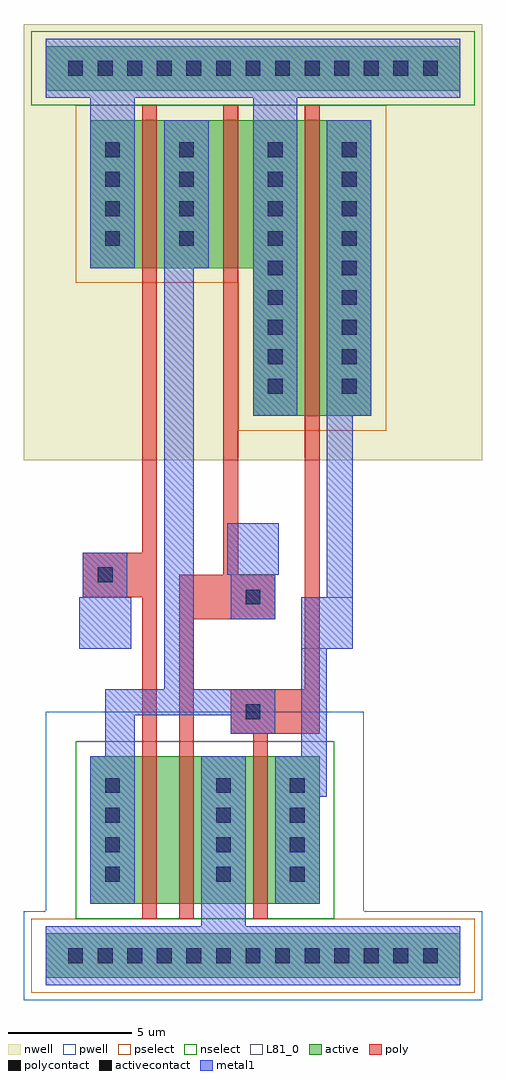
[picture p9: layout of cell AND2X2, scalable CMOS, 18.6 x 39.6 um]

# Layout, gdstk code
import gdstk
lib = gdstk.Library(unit=1e-6, precision=1e-09)
def R(c, l, rs):  # rectangles x0, y0, x1, y1
    for r in rs: c.add(gdstk.rectangle(r[:2], r[2:], *l))
def A(c, l, x, y, w, h, nx, ny, dx, dy):  # array of equal rectangles
    R(c, l, [(x+i*dx, y+j*dy, x+i*dx+w, y+j*dy+h) for i in range(nx) for j in range(ny)])
pwell = (41, 0)
nwell = (42, 0)
active = (43, 0)
pselect = (44, 0)
nselect = (45, 0)
poly = (46, 0)
polycontact = (47, 0)
activecontact = (48, 0)
metal1 = (49, 0)
L81_0 = (81, 0)

and2x2 = lib.new_cell('AND2X2')
R(and2x2, pwell, [(-1.8,-1.8,16.8,1.8), (-0.9,1.8,12,9.9)])
R(and2x2, nwell, [(-1.8,20.1,16.8,37.8)])
R(and2x2, active, [(-0.9,-0.9,15.9,0.9), (0.9,2.1,10.2,8.1), (7.5,21.9,12.3,27.9), (0.9,27.9,12.3,33.9), (-0.9,35.1,15.9,36.9)])
R(and2x2, pselect, [(-1.5,-1.5,16.5,1.5), (6.9,21.3,12.9,27.3), (0.3,27.3,12.9,34.5)])
R(and2x2, nselect, [(0.3,1.5,10.8,8.7), (-1.5,34.5,16.5,37.5)])
R(and2x2, poly, [(3,1.5,3.6,14.55), (4.5,1.5,5.1,13.65), (7.5,1.5,8.1,9), (6.6,9,10.2,10.8), (9.6,10.8,10.2,34.5), (4.5,13.65,8.4,15.45), (0.6,14.55,3.6,16.35), (6.3,15.45,6.9,34.5), (3,16.35,3.6,34.5)])
R(and2x2, polycontact, [(7.2,9.6,7.8,10.2), (7.2,14.25,7.8,14.85), (1.2,15.15,1.8,15.75)])
A(and2x2, activecontact, 0, -0.3, 0.6, 0.6, 13, 2, 1.2, 36)
A(and2x2, activecontact, 1.5, 3, 0.6, 0.6, 1, 4, 0, 1.2)
A(and2x2, activecontact, 6, 3, 0.6, 0.6, 1, 4, 0, 1.2)
A(and2x2, activecontact, 9, 3, 0.6, 0.6, 1, 4, 0, 1.2)
A(and2x2, activecontact, 8.1, 22.8, 0.6, 0.6, 1, 9, 0, 1.2)
A(and2x2, activecontact, 11.1, 22.8, 0.6, 0.6, 1, 9, 0, 1.2)
A(and2x2, activecontact, 1.5, 28.8, 0.6, 0.6, 1, 4, 0, 1.2)
A(and2x2, activecontact, 4.5, 28.8, 0.6, 0.6, 1, 4, 0, 1.2)
R(and2x2, metal1, [(-0.9,-1.2,15.9,1.2), (5.4,1.2,7.2,8.1), (0.9,2.1,2.7,8.1), (8.4,2.1,10.2,6.45), (8.4,6.45,10.5,8.1), (1.5,8.1,2.7,9.75), (9.45,8.1,10.5,12.45), (6.6,9,8.4,9.75), (1.5,9.75,8.4,10.8), (3.9,10.8,5.1,27.9), (0.45,12.45,2.55,14.55), (9.45,12.45,11.55,14.55), (6.6,13.65,8.4,15.45), (0.6,14.55,2.4,16.35), (10.5,14.55,11.55,21.9), (6.45,15.45,8.55,17.55), (7.5,21.9,9.3,34.8), (10.5,21.9,12.3,33.9), (0.9,27.9,2.7,34.8), (3.9,27.9,5.7,33.9), (-0.9,34.8,15.9,37.2)])
R(and2x2, L81_0, [(0.45,12.45,2.55,14.55), (9.45,12.45,11.55,14.55), (6.45,15.45,8.55,17.55)])

lib.write_gds('AND2X2.gds')
